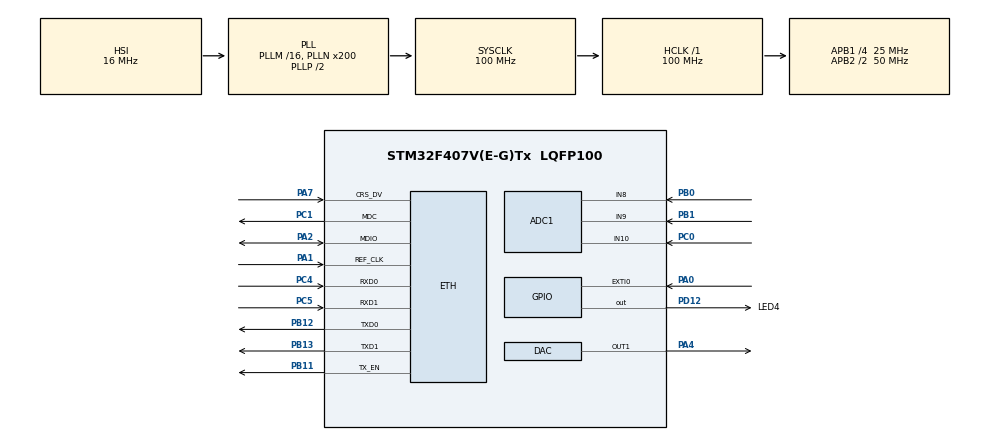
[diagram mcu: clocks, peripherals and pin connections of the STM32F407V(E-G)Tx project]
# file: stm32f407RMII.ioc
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ADC1.Channel-0\#ChannelRegularConversion=ADC_CHANNEL_8
ADC1.ClockPrescaler=ADC_CLOCKPRESCALER_PCLK_DIV8
ADC1.ContinuousConvMode=ENABLE
ADC1.DMAContinuousRequests=ENABLE
ADC1.DataAlign=ADC_DATAALIGN_RIGHT
ADC1.DiscontinuousConvMode=DISABLE
ADC1.EOCSelection=EOC_SINGLE_CONV
ADC1.EnableAnalogWatchDog=false
ADC1.ExternalTrigConvEdge=ADC_EXTERNALTRIGCONVEDGE_NONE
ADC1.InjNumberOfConversion=0
ADC1.NbrOfConversion=1
ADC1.NbrOfConversionFlag=1
ADC1.Rank-0\#ChannelRegularConversion=1
ADC1.Resolution=ADC_RESOLUTION12b
ADC1.SamplingTime-0\#ChannelRegularConversion=ADC_SAMPLETIME_480CYCLES
ADC1.ScanConvMode=DISABLE
ADC1.master=1
DAC.DAC_Trigger=DAC_TRIGGER_T6_TRGO
Dma.ADC1.0.Channel=DMA_CHANNEL_0
Dma.ADC1.0.Direction=DMA_PERIPH_TO_MEMORY
Dma.ADC1.0.FIFOMode=DMA_FIFOMODE_DISABLE
Dma.ADC1.0.Instance=DMA2_Stream0
Dma.ADC1.0.MemDataAlignment=DMA_MDATAALIGN_HALFWORD
Dma.ADC1.0.MemInc=DMA_MINC_ENABLE
Dma.ADC1.0.Mode=DMA_CIRCULAR
Dma.ADC1.0.PeriphDataAlignment=DMA_PDATAALIGN_HALFWORD
Dma.ADC1.0.PeriphInc=DMA_PINC_DISABLE
Dma.ADC1.0.Priority=DMA_PRIORITY_MEDIUM
Dma.DAC1.1.Channel=DMA_CHANNEL_7
Dma.DAC1.1.Direction=DMA_MEMORY_TO_PERIPH
Dma.DAC1.1.FIFOMode=DMA_FIFOMODE_DISABLE
Dma.DAC1.1.Instance=DMA1_Stream5
Dma.DAC1.1.MemDataAlignment=DMA_MDATAALIGN_HALFWORD
Dma.DAC1.1.MemInc=DMA_MINC_ENABLE
Dma.DAC1.1.Mode=DMA_CIRCULAR
Dma.DAC1.1.PeriphDataAlignment=DMA_PDATAALIGN_HALFWORD
Dma.DAC1.1.PeriphInc=DMA_PINC_DISABLE
Dma.DAC1.1.Priority=DMA_PRIORITY_HIGH
Dma.Request0=ADC1
Dma.Request1=DAC1
ETH.MediaInterface=ETH_MEDIA_INTERFACE_RMII
FREERTOS.Tasks01=defaultTask,0,128,StartDefaultTask
LWIP.GATEWAY_ADDRESS=192.168.000.001
LWIP.IP_ADDRESS=192.168.000.022
LWIP.LWIP_DHCP=0
LWIP.NETMASK_ADDRESS=255.255.255.000
Mcu.Family=STM32F4
Mcu.Name=STM32F407V(E-G)Tx
Mcu.Package=LQFP100
NVIC.DMA1_Stream5_IRQn=true\:5\:0\:false
NVIC.DMA2_Stream0_IRQn=true\:6\:0\:true
NVIC.ETH_IRQn=true\:5\:0\:false
NVIC.PriorityGroup=NVIC_PRIORITYGROUP_4
NVIC.TIM2_IRQn=true\:5\:0\:false
PA0-WKUP.Signal=GPXTI0
PA1.Mode=RMII
PA1.Signal=ETH_REF_CLK
PA2.Mode=RMII
PA2.Signal=ETH_MDIO
PA4.Signal=COMP_DAC1_group
PA7.Mode=RMII
PA7.Signal=ETH_CRS_DV
PB0.Signal=ADCx_IN8
PB1.Signal=ADCx_IN9
PB11.Mode=RMII
PB11.Signal=ETH_TX_EN
PB12.Mode=RMII
PB12.Signal=ETH_TXD0
PB13.Mode=RMII
PB13.Signal=ETH_TXD1
PC0.Signal=ADCx_IN10
PC1.Mode=RMII
PC1.Signal=ETH_MDC
PC4.Mode=RMII
PC4.Signal=ETH_RXD0
PC5.Mode=RMII
PC5.Signal=ETH_RXD1
PD12.GPIO_Label=LED4
PD12.Signal=GPIO_Output
ProjectManager.TargetToolchain=SW4STM32
RCC.48MHZClocksFreq_Value=50000000
RCC.AHBFreq_Value=100000000
RCC.APB1CLKDivider=RCC_HCLK_DIV4
RCC.APB1Freq_Value=25000000
RCC.APB1TimFreq_Value=50000000
RCC.APB2CLKDivider=RCC_HCLK_DIV2
RCC.APB2Freq_Value=50000000
RCC.APB2TimFreq_Value=100000000
RCC.CortexFreq_Value=100000000
RCC.HCLKFreq_Value=100000000
RCC.HSE_VALUE=25000000
RCC.HSI_VALUE=16000000
RCC.LSE_VALUE=32768
RCC.PLLN=200
RCC.SYSCLKFreq_VALUE=100000000
RCC.SYSCLKSource=RCC_SYSCLKSOURCE_PLLCLK
RCC.VCOOutputFreq_Value=200000000
SH.ADCx_IN10.0=ADC1_IN10,IN10
SH.ADCx_IN8.0=ADC1_IN8,IN8
SH.ADCx_IN9.0=ADC1_IN9,IN9
SH.COMP_DAC1_group.0=DAC_OUT1,DAC_OUT1
TIM2.Period=25000000
TIM2.TIM_MasterOutputTrigger=TIM_TRGO_ENABLE
TIM2.TIM_MasterSlaveMode=TIM_MASTERSLAVEMODE_DISABLE
TIM6.Period=0x7FF
TIM6.TIM_MasterOutputTrigger=TIM_TRGO_UPDATE
VP_ADC1_TempSens_Input.Mode=IN-TempSens
VP_ADC1_Vbat_Input.Mode=IN-Vbat
VP_FREERTOS_VS_ENABLE.Mode=Enabled
VP_LWIP_VS_Enabled.Mode=Enabled
VP_TIM2_VS_ClockSourceINT.Mode=Internal
VP_TIM6_VS_ClockSourceINT.Mode=Enable_Timer
board=stm32f407RMII

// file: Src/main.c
/**
  ******************************************************************************
  * File Name          : main.c
  * Description        : Main program body
  ******************************************************************************
  *
  * COPYRIGHT(c) 2016 STMicroelectronics
  *
  * Redistribution and use in source and binary forms, with or without modification,
  * are permitted provided that the following conditions are met:
  *   1. Redistributions of source code must retain the above copyright notice,
  *      this list of conditions and the following disclaimer.
  *   2. Redistributions in binary form must reproduce the above copyright notice,
  *      this list of conditions and the following disclaimer in the documentation
  *      and/or other materials provided with the distribution.
  *   3. Neither the name of STMicroelectronics nor the names of its contributors
  *      may be used to endorse or promote products derived from this software
  *      without specific prior written permission.
  *
  * THIS SOFTWARE IS PROVIDED BY THE COPYRIGHT HOLDERS AND CONTRIBUTORS "AS IS"
  * AND ANY EXPRESS OR IMPLIED WARRANTIES, INCLUDING, BUT NOT LIMITED TO, THE
  * IMPLIED WARRANTIES OF MERCHANTABILITY AND FITNESS FOR A PARTICULAR PURPOSE ARE
  * DISCLAIMED. IN NO EVENT SHALL THE COPYRIGHT HOLDER OR CONTRIBUTORS BE LIABLE
  * FOR ANY DIRECT, INDIRECT, INCIDENTAL, SPECIAL, EXEMPLARY, OR CONSEQUENTIAL
  * DAMAGES (INCLUDING, BUT NOT LIMITED TO, PROCUREMENT OF SUBSTITUTE GOODS OR
  * SERVICES; LOSS OF USE, DATA, OR PROFITS; OR BUSINESS INTERRUPTION) HOWEVER
  * CAUSED AND ON ANY THEORY OF LIABILITY, WHETHER IN CONTRACT, STRICT LIABILITY,
  * OR TORT (INCLUDING NEGLIGENCE OR OTHERWISE) ARISING IN ANY WAY OUT OF THE USE
  * OF THIS SOFTWARE, EVEN IF ADVISED OF THE POSSIBILITY OF SUCH DAMAGE.
  *
  ******************************************************************************
  */
#include "stm32f4xx_hal.h"
#include "cmsis_os.h"
#include "lwip.h"

/* USER CODE BEGIN Includes */
#include "battery-socket.h"
#include "arm_math.h"
#include "arm_common_tables.h"
/* USER CODE END Includes */

ADC_HandleTypeDef hadc1;
DMA_HandleTypeDef hdma_adc1;

DAC_HandleTypeDef hdac;
DMA_HandleTypeDef hdma_dac1;

TIM_HandleTypeDef htim2;
TIM_HandleTypeDef htim6;

osThreadId defaultTaskHandle;

/* USER CODE BEGIN PV */
/* Private variables ---------------------------------------------------------*/
VoltageStruct voltageStruct;

static DAC_ChannelConfTypeDef sConfig;

const uint8_t aEscalator8bit[6] = {0x0, 0x33, 0x66, 0x99, 0xCC, 0xFF};

/* Variable used to get converted value */
__IO uint16_t uhADCxConvertedValue[VOLTAGE_BUFFER_LENGTH] = {0};
__IO uint16_t uhDACxConvertedValue = 0;
uint32_t sampleCounter = 0;
uint32_t sampleMultiplier = 0;
uint32_t bufferFirst[ETHERNET_BUFFER_LENGTH] = {0};
uint32_t bufferLast[ETHERNET_BUFFER_LENGTH] = {0};

/* USER CODE END PV */

void SystemClock_Config(void);
static void MX_GPIO_Init(void);
static void MX_DMA_Init(void);
static void MX_ADC1_Init(void);
static void MX_DAC_Init(void);
static void MX_TIM2_Init(void);
static void MX_TIM6_Init(void);
void StartDefaultTask(void const * argument);

/* USER CODE BEGIN PFP */
/* Private function prototypes -----------------------------------------------*/

static void ToggleLed4(void const * argument);
static void BatteryVoltageMonitor(void const * argument);
static void BatteryVoltageController(void const * argument);
static void Error_Handler(void);
void HAL_ADC_ConvCpltCallback(ADC_HandleTypeDef* AdcHandle);
void HAL_ADC_ConvCpltCallback2(ADC_HandleTypeDef* AdcHandle);
void SET_DAC();

static void DAC_Ch1_TriangleConfig(void);
static void DAC_Ch1_EscalatorConfig(void);
void InitializeVoltageStruct();

/* USER CODE END PFP */

int main(void)
{

  /* USER CODE BEGIN 1 */
  voltageStruct.packetHeader = 0x0000AA55;
  voltageStruct.bufferFirstHalf = bufferFirst;
  voltageStruct.bufferLastHalf = bufferLast;
  voltageStruct.bufferLength = ETHERNET_BUFFER_LENGTH;

  /* USER CODE END 1 */

  /* MCU Configuration----------------------------------------------------------*/

  /* Reset of all peripherals, Initializes the Flash interface and the Systick. */
  HAL_Init();

  /* Configure the system clock */
  SystemClock_Config();

  /* Initialize all configured peripherals */
  MX_GPIO_Init();
  MX_DMA_Init();
  MX_ADC1_Init();
  MX_DAC_Init();
  MX_TIM2_Init();
  MX_TIM6_Init();

  /* USER CODE BEGIN 2 */

  /*##-2- Enable TIM peripheral counter ######################################*/
  HAL_TIM_Base_Start(&htim6);

  /*##-2- Start the TIM Base generation in interrupt mode ####################*/
  /* Start Channel1 */
  if(HAL_TIM_Base_Start_IT(&htim2) != HAL_OK)
  {
    /* Starting Error */
    Error_Handler();
  }

  /*##-3- Start the conversion process and enable interrupt ##################*/
  if(HAL_ADC_Start_DMA(&hadc1, (uint32_t*)&uhADCxConvertedValue, VOLTAGE_BUFFER_LENGTH) != HAL_OK)
  {
    /* Start Conversation Error */
    Error_Handler();
  }

  /*##-2- Enable DAC Channel1 and associated DMA #############################*/
  if(HAL_DAC_Start_DMA(&hdac, DAC_CHANNEL_1, (uint32_t*)&uhDACxConvertedValue, 1, DAC_ALIGN_12B_R) != HAL_OK)
  {
    /* Start DMA Error */
    Error_Handler();
  }

  /* USER CODE END 2 */

  /* Create the thread(s) */
  /* definition and creation of defaultTask */
  osThreadDef(defaultTask, StartDefaultTask, osPriorityNormal, 0, 128);
  defaultTaskHandle = osThreadCreate(osThread(defaultTask), NULL);

  /* USER CODE BEGIN RTOS_THREADS */
  /* add threads, ... */

//  osThreadDef(LED4, ToggleLed4, osPriorityNormal, 0, configMINIMAL_STACK_SIZE);
//  osThreadCreate(osThread(LED4), NULL);

//  osThreadDef(BATTERYADC1, BatteryVoltageMonitor, osPriorityNormal, 0, configMINIMAL_STACK_SIZE);
//  osThreadCreate(osThread(BATTERYADC1), NULL);

//  osThreadDef(BATTERYDAC1, BatteryVoltageController, osPriorityNormal, 0, configMINIMAL_STACK_SIZE);
//  osThreadCreate(osThread(BATTERYDAC1), NULL);

  /* USER CODE END RTOS_THREADS */

  /* Start scheduler */
  osKernelStart();

  /* We should never get here as control is now taken by the scheduler */

  /* Infinite loop */
  while (1)
  {

  }

}

/** System Clock Configuration
*/
void SystemClock_Config(void)
{

  RCC_OscInitTypeDef RCC_OscInitStruct;
  RCC_ClkInitTypeDef RCC_ClkInitStruct;

  __PWR_CLK_ENABLE();

  __HAL_PWR_VOLTAGESCALING_CONFIG(PWR_REGULATOR_VOLTAGE_SCALE1);

  RCC_OscInitStruct.OscillatorType = RCC_OSCILLATORTYPE_HSI;
  RCC_OscInitStruct.HSIState = RCC_HSI_ON;
  RCC_OscInitStruct.HSICalibrationValue = 16;
  RCC_OscInitStruct.PLL.PLLState = RCC_PLL_ON;
  RCC_OscInitStruct.PLL.PLLSource = RCC_PLLSOURCE_HSI;
  RCC_OscInitStruct.PLL.PLLM = 16;
  RCC_OscInitStruct.PLL.PLLN = 200;
  RCC_OscInitStruct.PLL.PLLP = RCC_PLLP_DIV2;
  RCC_OscInitStruct.PLL.PLLQ = 4;
  HAL_RCC_OscConfig(&RCC_OscInitStruct);

  RCC_ClkInitStruct.ClockType = RCC_CLOCKTYPE_SYSCLK|RCC_CLOCKTYPE_PCLK1
                              |RCC_CLOCKTYPE_PCLK2;
  RCC_ClkInitStruct.SYSCLKSource = RCC_SYSCLKSOURCE_PLLCLK;
  RCC_ClkInitStruct.AHBCLKDivider = RCC_SYSCLK_DIV1;
  RCC_ClkInitStruct.APB1CLKDivider = RCC_HCLK_DIV4;
  RCC_ClkInitStruct.APB2CLKDivider = RCC_HCLK_DIV2;
  HAL_RCC_ClockConfig(&RCC_ClkInitStruct, FLASH_LATENCY_3);

  HAL_SYSTICK_Config(HAL_RCC_GetHCLKFreq()/1000);

  HAL_SYSTICK_CLKSourceConfig(SYSTICK_CLKSOURCE_HCLK);

  /* SysTick_IRQn interrupt configuration */
  HAL_NVIC_SetPriority(SysTick_IRQn, 0, 0);
}

/* ADC1 init function */
void MX_ADC1_Init(void)
{

  ADC_ChannelConfTypeDef sConfig;

    /**Configure the global features of the ADC (Clock, Resolution, Data Alignment and number of conversion)
    */
  hadc1.Instance = ADC1;
  hadc1.Init.ClockPrescaler = ADC_CLOCKPRESCALER_PCLK_DIV8;
  hadc1.Init.Resolution = ADC_RESOLUTION12b;
  hadc1.Init.ScanConvMode = DISABLE;
  hadc1.Init.ContinuousConvMode = ENABLE;
  hadc1.Init.DiscontinuousConvMode = DISABLE;
  hadc1.Init.ExternalTrigConvEdge = ADC_EXTERNALTRIGCONVEDGE_NONE;
  hadc1.Init.DataAlign = ADC_DATAALIGN_RIGHT;
  hadc1.Init.NbrOfConversion = 1;
  hadc1.Init.DMAContinuousRequests = ENABLE;
  hadc1.Init.EOCSelection = EOC_SINGLE_CONV;
  HAL_ADC_Init(&hadc1);

    /**Configure for the selected ADC regular channel its corresponding rank in the sequencer and its sample time.
    */
  sConfig.Channel = ADC_CHANNEL_8;
  sConfig.Rank = 1;
  sConfig.SamplingTime = ADC_SAMPLETIME_480CYCLES;
  HAL_ADC_ConfigChannel(&hadc1, &sConfig);

}

/* DAC init function */
void MX_DAC_Init(void)
{

  DAC_ChannelConfTypeDef sConfig;

    /**DAC Initialization
    */
  hdac.Instance = DAC;
  HAL_DAC_Init(&hdac);

    /**DAC channel OUT1 config
    */
  sConfig.DAC_Trigger = DAC_TRIGGER_T6_TRGO;
  sConfig.DAC_OutputBuffer = DAC_OUTPUTBUFFER_ENABLE;
  HAL_DAC_ConfigChannel(&hdac, &sConfig, DAC_CHANNEL_1);

}

/* TIM2 init function */
void MX_TIM2_Init(void)
{

  TIM_ClockConfigTypeDef sClockSourceConfig;
  TIM_MasterConfigTypeDef sMasterConfig;

  htim2.Instance = TIM2;
  htim2.Init.Prescaler = 0;
  htim2.Init.CounterMode = TIM_COUNTERMODE_UP;
  htim2.Init.Period = 25000000;
  htim2.Init.ClockDivision = TIM_CLOCKDIVISION_DIV1;
  HAL_TIM_Base_Init(&htim2);

  sClockSourceConfig.ClockSource = TIM_CLOCKSOURCE_INTERNAL;
  HAL_TIM_ConfigClockSource(&htim2, &sClockSourceConfig);

  sMasterConfig.MasterOutputTrigger = TIM_TRGO_ENABLE;
  sMasterConfig.MasterSlaveMode = TIM_MASTERSLAVEMODE_DISABLE;
  HAL_TIMEx_MasterConfigSynchronization(&htim2, &sMasterConfig);

}

/* TIM6 init function */
void MX_TIM6_Init(void)
{

  TIM_MasterConfigTypeDef sMasterConfig;

  htim6.Instance = TIM6;
  htim6.Init.Prescaler = 0;
  htim6.Init.CounterMode = TIM_COUNTERMODE_UP;
  htim6.Init.Period = 0x7FF;
  HAL_TIM_Base_Init(&htim6);

  sMasterConfig.MasterOutputTrigger = TIM_TRGO_UPDATE;
  sMasterConfig.MasterSlaveMode = TIM_MASTERSLAVEMODE_DISABLE;
  HAL_TIMEx_MasterConfigSynchronization(&htim6, &sMasterConfig);

}

void MX_DMA_Init(void)
{
  /* DMA controller clock enable */
  __DMA2_CLK_ENABLE();
  __DMA1_CLK_ENABLE();

  /* DMA interrupt init */
  HAL_NVIC_SetPriority(DMA1_Stream5_IRQn, 5, 0);
  HAL_NVIC_EnableIRQ(DMA1_Stream5_IRQn);
  HAL_NVIC_SetPriority(DMA2_Stream0_IRQn, 6, 0);
  HAL_NVIC_EnableIRQ(DMA2_Stream0_IRQn);

}

/** Configure pins as
        * Analog
        * Input
        * Output
        * EVENT_OUT
        * EXTI
*/
void MX_GPIO_Init(void)
{

  GPIO_InitTypeDef GPIO_InitStruct;

  /* GPIO Ports Clock Enable */
  __GPIOC_CLK_ENABLE();
  __GPIOA_CLK_ENABLE();
  __GPIOB_CLK_ENABLE();
  __GPIOD_CLK_ENABLE();

  /*Configure GPIO pin : PA0 */
  GPIO_InitStruct.Pin = GPIO_PIN_0;
  GPIO_InitStruct.Mode = GPIO_MODE_IT_RISING;
  GPIO_InitStruct.Pull = GPIO_NOPULL;
  HAL_GPIO_Init(GPIOA, &GPIO_InitStruct);

  /*Configure GPIO pin : LED4_Pin */
  GPIO_InitStruct.Pin = LED4_Pin;
  GPIO_InitStruct.Mode = GPIO_MODE_OUTPUT_PP;
  GPIO_InitStruct.Pull = GPIO_NOPULL;
  GPIO_InitStruct.Speed = GPIO_SPEED_LOW;
  HAL_GPIO_Init(LED4_GPIO_Port, &GPIO_InitStruct);

}

/* USER CODE BEGIN 4 */

//uint32_t dacCounter = 0;
//float32_t dacPeriod= 0x7FF / 50000000.;
//float32_t dacResolution = 2^12;
/////**
////  * @brief  Conversion complete callback in non blocking mode for Channel1
////  * @param  hdac: pointer to a DAC_HandleTypeDef structure that contains
////  *         the configuration information for the specified DAC.
////  * @retval None
////  */
//void HAL_DAC_ConvCpltCallbackCh1(DAC_HandleTypeDef* hdac)
//{
//  float32_t theta = dacCounter * 2. * 3.14 * dacPeriod;
//  uint32_t sinTheta = dacResolution * (1.001 + arm_sin_f32(theta)) / 2.;
//
////  uhDACxConvertedValue = (uint32_t)sinTheta;
//  dacCounter += 1;
////  HAL_DAC_SetValue(hdac, DAC_CHANNEL_1, DAC_ALIGN_8B_R, 2048);
//}

/**
  * @brief  Period elapsed callback in non blocking mode
  * @param  htim: TIM handle
  * @retval None
  */
void HAL_TIM_PeriodElapsedCallback(TIM_HandleTypeDef *htim)
{
//	broadcastVoltageAll();
	HAL_GPIO_TogglePin(GPIOD, GPIO_PIN_12);
}

static void BatteryVoltageMonitor(void const * argument)
{

  /*##-3- Start the conversion process and enable interrupt ##################*/
  if(HAL_ADC_Start_DMA(&hadc1, (uint32_t*)&uhADCxConvertedValue, VOLTAGE_BUFFER_LENGTH) != HAL_OK)
  {
    /* Start Conversation Error */
    Error_Handler();
  }

  /* Infinite loop */
  while (1)
  {
	  osDelay(1);
  }

}

static void BatteryVoltageController(void const * argument)
{
//      DAC_Ch1_TriangleConfig();
//      DAC_Ch1_EscalatorConfig();

  /* Infinite loop */
  while (1)
  {
	  osDelay(1);
  }

}

/**
  * @brief  Conversion complete callback in non blocking mode for Channel1
  * @param  hdac: pointer to a DAC_HandleTypeDef structure that contains
  *         the configuration information for the specified DAC.
  * @retval None
  */
//void HAL_DAC_ConvCpltCallbackCh1(DAC_HandleTypeDef* hdac)
//{
//	q15_t phase = 10 * HAL_GetTick() / 1000;
//	waveformValue = arm_sin_q15(phase);
//	HAL_DAC_SetValue(hdac, DAC_CHANNEL_1, DAC_ALIGN_12B_R, waveformValue);
//	HAL_DAC_Start(hdac, DAC_CHANNEL_1);

//	waveformValue = HAL_GetTick() % 4095;
//	if(HAL_DAC_Start_DMA(hdac, DAC_CHANNEL_1, (uint32_t*)&waveformValue, sizeof(uint16_t), DAC_ALIGN_12B_R) != HAL_OK)
//	{
//	/* Start Error */
//	Error_Handler();
//	}
//}

/**
  * @brief  This function is executed in case of error occurrence.
  * @param  None
  * @retval None
  */
static void Error_Handler(void)
{
  /* Turn LED5 on */
//  BSP_LED_On(LED5);
  while(1)
  {
  }
}

static void DAC_Ch1_EscalatorConfig(void)
{
  /*##-1- Initialize the DAC peripheral ######################################*/
  if(HAL_DAC_Init(&hdac) != HAL_OK)
  {
    /* Initialization Error */
    Error_Handler();
  }

  /*##-1- DAC channel1 Configuration #########################################*/
  sConfig.DAC_Trigger = DAC_TRIGGER_T6_TRGO;
  sConfig.DAC_OutputBuffer = DAC_OUTPUTBUFFER_ENABLE;

  if(HAL_DAC_ConfigChannel(&hdac, &sConfig, DAC_CHANNEL_1) != HAL_OK)
  {
    /* Channel configuration Error */
    Error_Handler();
  }

  /*##-2- Enable DAC Channel1 and associated DMA #############################*/
  if(HAL_DAC_Start_DMA(&hdac, DAC_CHANNEL_1, (uint32_t*)aEscalator8bit, 6, DAC_ALIGN_8B_R) != HAL_OK)
  {
    /* Start DMA Error */
    Error_Handler();
  }
}

/**
  * @brief  DAC Channel1 Triangle Configuration
  * @param  None
  * @retval None
  */
static void DAC_Ch1_TriangleConfig(void)
{
  /*##-1- Initialize the DAC peripheral ######################################*/
  if(HAL_DAC_Init(&hdac) != HAL_OK)
  {
    /* Initialization Error */
    Error_Handler();
  }

  /*##-2- DAC channel2 Configuration #########################################*/
  sConfig.DAC_Trigger = DAC_TRIGGER_T6_TRGO;
  sConfig.DAC_OutputBuffer = DAC_OUTPUTBUFFER_ENABLE;

  if(HAL_DAC_ConfigChannel(&hdac, &sConfig, DAC_CHANNEL_1) != HAL_OK)
  {
    /* Channel configuration Error */
    Error_Handler();
  }

  /*##-3- DAC channel2 Triangle Wave generation configuration ################*/
  if(HAL_DACEx_TriangleWaveGenerate(&hdac, DAC_CHANNEL_1, DAC_TRIANGLEAMPLITUDE_1023) != HAL_OK)
  {
    /* Triangle wave generation Error */
    Error_Handler();
  }

  /*##-4- Enable DAC Channel1 ################################################*/
  if(HAL_DAC_Start(&hdac, DAC_CHANNEL_1) != HAL_OK)
  {
    /* Start Error */
    Error_Handler();
  }

  /*##-5- Set DAC channel1 DHR12RD register ################################################*/
  if(HAL_DAC_SetValue(&hdac, DAC_CHANNEL_1, DAC_ALIGN_12B_R, 0x100) != HAL_OK)
  {
    /* Setting value Error */
    Error_Handler();
  }
}

//uint32_t * getVoltagePacket()
//{
//	int i;
//	for(i = 0; i < VOLTAGE_BUFFER_LENGTH; i++)
//	{
//		voltagePacket[i] = voltageStruct.buffer[i];
//		voltageStruct.buffer[i] = 0;
//	}
//	voltageStruct.packetCount = 0;
//	return voltagePacket;
//}

#define PERIOD 2520
uint32_t averagingBuffer = 0;
uint32_t tick = 0;
/**
  * @brief  Conversion complete callback in non blocking mode for Channel1
  * @param  hdac: pointer to a DAC_HandleTypeDef structure that contains
  *         the configuration information for the specified DAC.
  * @retval None
  */
void HAL_DAC_ConvCpltCallbackCh1(DAC_HandleTypeDef* hdac){
	SET_DAC();
}

void SET_DAC()
{
    float32_t phase = ((float32_t)tick * (VOLTAGE_BUFFER_LENGTH / 2)) * 2. * 3.14 /((float32_t)PERIOD);
    float32_t sin = arm_sin_f32(phase * 10.0);
    float32_t cos = arm_cos_f32(phase);

    uint16_t waveformValue = 4095. * (2. +  .3 * sin + cos) / 4.;

    HAL_DAC_SetValue(&hdac, DAC_CHANNEL_1, DAC_ALIGN_12B_R, waveformValue);
    HAL_DAC_Start(&hdac, DAC_CHANNEL_1);
}

int i, firstHalfBufferIsActive = 1;
//int16_t waveformValue[6] = {0};
/**
  * @brief  Conversion complete callback in non blocking mode
  * @param  AdcHandle : AdcHandle handle
  * @note   This example shows a simple way to report end of conversion, and
  *         you can add your own implementation.
  * @retval None
  */
void HAL_ADC_ConvCpltCallback(ADC_HandleTypeDef* AdcHandle)
{
	int j, startIndex, bufferAverage = 0;

	startIndex = VOLTAGE_BUFFER_LENGTH / 2;
	for (j=startIndex; j<VOLTAGE_BUFFER_LENGTH; j++){
		bufferAverage += uhADCxConvertedValue[j];
	}

	if(firstHalfBufferIsActive){
		voltageStruct.bufferFirstHalf[i] = voltageStruct.packetHeader;
		voltageStruct.bufferFirstHalf[i + 1] = tick * (VOLTAGE_BUFFER_LENGTH / 2);
		voltageStruct.bufferFirstHalf[i + 2] = bufferAverage / (VOLTAGE_BUFFER_LENGTH / 2);
	}else{
		voltageStruct.bufferLastHalf[i] = voltageStruct.packetHeader;
		voltageStruct.bufferLastHalf[i + 1] = tick * (VOLTAGE_BUFFER_LENGTH / 2);
		voltageStruct.bufferLastHalf[i + 2] = bufferAverage / (VOLTAGE_BUFFER_LENGTH / 2);
	}
	tick += 1;

	if(i<ETHERNET_BUFFER_LENGTH - 3){
		i += 3;
	}else{
		i = 0;
		firstHalfBufferIsActive = !firstHalfBufferIsActive;
	}
}

void HAL_ADC_ConvHalfCpltCallback(ADC_HandleTypeDef* AdcHandle)
{
	int j, endIndex, bufferAverage = 0;

	endIndex = VOLTAGE_BUFFER_LENGTH / 2;
	for (j=0; j<endIndex; j++){
		bufferAverage += uhADCxConvertedValue[j];
	}

	if(firstHalfBufferIsActive){
		voltageStruct.bufferFirstHalf[i] = voltageStruct.packetHeader;
		voltageStruct.bufferFirstHalf[i + 1] = tick * (VOLTAGE_BUFFER_LENGTH / 2);
		voltageStruct.bufferFirstHalf[i + 2] = bufferAverage / (VOLTAGE_BUFFER_LENGTH / 2);
	}else{
		voltageStruct.bufferLastHalf[i] = voltageStruct.packetHeader;
		voltageStruct.bufferLastHalf[i + 1] = tick * (VOLTAGE_BUFFER_LENGTH / 2);
		voltageStruct.bufferLastHalf[i + 2] = bufferAverage / (VOLTAGE_BUFFER_LENGTH / 2);
	}
	tick += 1;

	if(i<ETHERNET_BUFFER_LENGTH - 3){
		i += 3;
	}else{
		i = 0;
		firstHalfBufferIsActive = !firstHalfBufferIsActive;
	}
}

//void HAL_ADC_ConvCpltCallback2(ADC_HandleTypeDef* AdcHandle)
//{
//	averagingBuffer += uhADCxConvertedValue;
//    if(sampleCounter >= VOLTAGE_SUBSAMPLE)
//    {
//    	uint32_t newHeaderLocation = voltageStruct.packetCount * voltageStruct.packetLength;
//    	if(newHeaderLocation + voltageStruct.packetLength <= voltageStruct.bufferLength)
//    	{
//			voltageStruct.buffer[newHeaderLocation] = voltageStruct.packetHeader;
//			voltageStruct.buffer[newHeaderLocation + 1] = sampleMultiplier - VOLTAGE_SUBSAMPLE / 2;
//			voltageStruct.buffer[newHeaderLocation + 2] = averagingBuffer / VOLTAGE_SUBSAMPLE;
//			voltageStruct.packetCount += 1;
//    	}
//
//    	sampleMultiplier += 1;
//
//    	sampleCounter = 0;
//    	averagingBuffer = 0;
//
//    } else
//	{
//		sampleCounter += 1;
//	}
//
//    if(tick >= PERIOD)
//    {
//    	tick = 0;
//    }else
//    {
//    	tick += 1;
//    }
//
//    float32_t phase = ((float32_t)tick) * 2. * 3.14 /((float32_t)PERIOD);
//    float32_t sin = arm_sin_f32(phase * 10.0);
//    float32_t cos = arm_cos_f32(phase);
//
//    uint16_t waveformValue = 4095. * (2. +  .3 * sin + cos) / 4.;
//
//    HAL_DAC_SetValue(&hdac, DAC_CHANNEL_1, DAC_ALIGN_12B_R, waveformValue);
//    HAL_DAC_Start(&hdac, DAC_CHANNEL_1);
//
//}
//

/**
  * @brief  Error DAC callback for Channel1.
  * @param  hdac: pointer to a DAC_HandleTypeDef structure that contains
  *         the configuration information for the specified DAC.
  * @retval None
  */
void HAL_DAC_ErrorCallbackCh1(DAC_HandleTypeDef *hdac)
{
	Error_Handler();
}

/**
  * @brief  DMA underrun DAC callback for channel1.
  * @param  hdac: pointer to a DAC_HandleTypeDef structure that contains
  *         the configuration information for the specified DAC.
  * @retval None
  */
void HAL_DAC_DMAUnderrunCallbackCh1(DAC_HandleTypeDef *hdac)
{
	Error_Handler();
}

/**
/* USER CODE END 4 */

/* StartDefaultTask function */
void StartDefaultTask(void const * argument)
{
  /* init code for LWIP */
  MX_LWIP_Init();

  /* USER CODE BEGIN 5 */

  voltage_server_socket();

  /* USER CODE END 5 */
}

/************************ (C) COPYRIGHT STMicroelectronics *****END OF FILE****/
